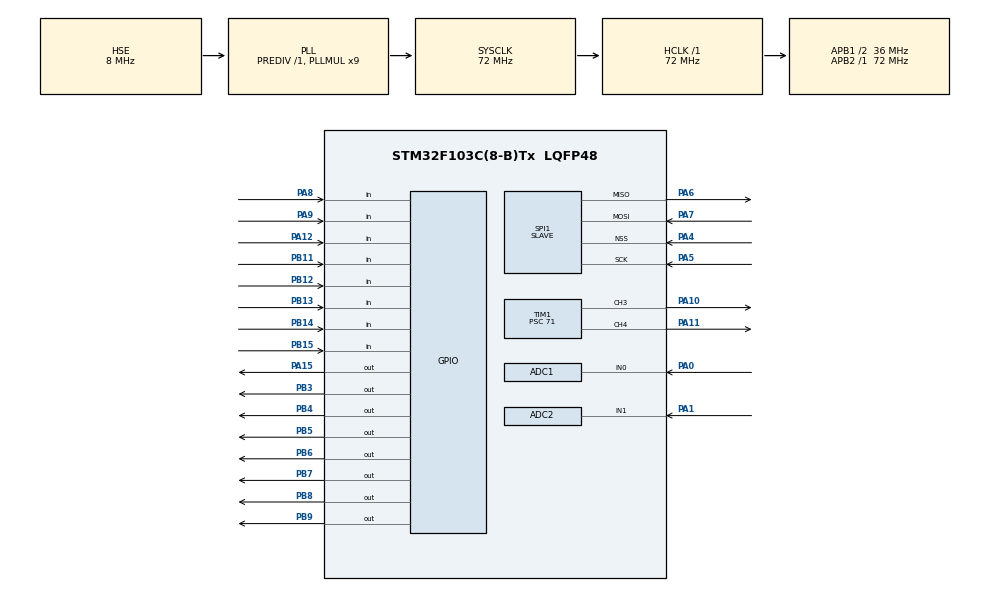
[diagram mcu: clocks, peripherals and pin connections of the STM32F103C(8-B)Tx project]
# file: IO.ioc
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ADC1.Channel-0\#ChannelRegularConversion=ADC_CHANNEL_0
ADC1.ContinuousConvMode=ENABLE
ADC1.NbrOfConversionFlag=1
ADC1.Rank-0\#ChannelRegularConversion=1
ADC1.SamplingTime-0\#ChannelRegularConversion=ADC_SAMPLETIME_1CYCLE_5
ADC1.master=1
ADC2.Channel-0\#ChannelRegularConversion=ADC_CHANNEL_1
ADC2.ContinuousConvMode=ENABLE
ADC2.NbrOfConversionFlag=1
ADC2.Rank-0\#ChannelRegularConversion=1
ADC2.SamplingTime-0\#ChannelRegularConversion=ADC_SAMPLETIME_1CYCLE_5
Mcu.Family=STM32F1
Mcu.Name=STM32F103C(8-B)Tx
Mcu.Package=LQFP48
NVIC.PriorityGroup=NVIC_PRIORITYGROUP_4
NVIC.SPI1_IRQn=true\:0\:0\:false\:false\:true\:true\:true\:true
PA0-WKUP.Signal=ADCx_IN0
PA1.Signal=ADCx_IN1
PA10.Signal=S_TIM1_CH3
PA11.Signal=S_TIM1_CH4
PA12.GPIO_PuPd=GPIO_PULLDOWN
PA12.Signal=GPIO_Input
PA13.Mode=Serial_Wire
PA13.Signal=SYS_JTMS-SWDIO
PA14.Mode=Serial_Wire
PA14.Signal=SYS_JTCK-SWCLK
PA15.Signal=GPIO_Output
PA4.Mode=NSS_Signal_Hard_Input
PA4.Signal=SPI1_NSS
PA5.Mode=Full_Duplex_Slave
PA5.Signal=SPI1_SCK
PA6.Mode=Full_Duplex_Slave
PA6.Signal=SPI1_MISO
PA7.Mode=Full_Duplex_Slave
PA7.Signal=SPI1_MOSI
PA8.GPIO_PuPd=GPIO_PULLDOWN
PA8.Signal=GPIO_Input
PA9.GPIO_PuPd=GPIO_PULLDOWN
PA9.Signal=GPIO_Input
PB11.GPIO_PuPd=GPIO_PULLDOWN
PB11.Signal=GPIO_Input
PB12.GPIO_PuPd=GPIO_PULLDOWN
PB12.Signal=GPIO_Input
PB13.GPIO_PuPd=GPIO_PULLDOWN
PB13.Signal=GPIO_Input
PB14.GPIO_PuPd=GPIO_PULLDOWN
PB14.Signal=GPIO_Input
PB15.GPIO_PuPd=GPIO_PULLDOWN
PB15.Signal=GPIO_Input
PB3.Signal=GPIO_Output
PB4.Signal=GPIO_Output
PB5.Signal=GPIO_Output
PB6.Signal=GPIO_Output
PB7.Signal=GPIO_Output
PB8.Signal=GPIO_Output
PB9.Signal=GPIO_Output
PD0-OSC_IN.Mode=HSE-External-Oscillator
PD0-OSC_IN.Signal=RCC_OSC_IN
PD1-OSC_OUT.Mode=HSE-External-Oscillator
PD1-OSC_OUT.Signal=RCC_OSC_OUT
ProjectManager.HeapSize=0x200
ProjectManager.StackSize=0x400
ProjectManager.TargetToolchain=EWARM V8.32
RCC.ADCPresc=RCC_ADCPCLK2_DIV6
RCC.AHBFreq_Value=72000000
RCC.APB1CLKDivider=RCC_HCLK_DIV2
RCC.APB1Freq_Value=36000000
RCC.APB1TimFreq_Value=72000000
RCC.APB2Freq_Value=72000000
RCC.APB2TimFreq_Value=72000000
RCC.HCLKFreq_Value=72000000
RCC.PLLMUL=RCC_PLL_MUL9
RCC.PLLSourceVirtual=RCC_PLLSOURCE_HSE
RCC.SYSCLKFreq_VALUE=72000000
RCC.SYSCLKSource=RCC_SYSCLKSOURCE_PLLCLK
RCC.USBFreq_Value=72000000
SH.ADCx_IN0.0=ADC1_IN0,IN0
SH.ADCx_IN1.0=ADC2_IN1,IN1
SH.S_TIM1_CH3.0=TIM1_CH3,PWM Generation3 CH3
SH.S_TIM1_CH4.0=TIM1_CH4,PWM Generation4 CH4
SPI1.Direction=SPI_DIRECTION_2LINES
SPI1.Mode=SPI_MODE_SLAVE
SPI1.VirtualNSS=VM_NSSHARD
SPI1.VirtualType=VM_SLAVE
TIM1.Channel-PWM\ Generation3\ CH3=TIM_CHANNEL_3
TIM1.Channel-PWM\ Generation4\ CH4=TIM_CHANNEL_4
TIM1.Period=254
TIM1.Prescaler=71
board=custom

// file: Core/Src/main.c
/* USER CODE BEGIN Header */
/**
  ******************************************************************************
  * @file           : main.c
  * @brief          : Main program body
  ******************************************************************************
  * @attention
  *
  * Copyright (c) 2026 STMicroelectronics.
  * All rights reserved.
  *
  * This software is licensed under terms that can be found in the LICENSE file
  * in the root directory of this software component.
  * If no LICENSE file comes with this software, it is provided AS-IS.
  *
  ******************************************************************************
  */
/* USER CODE END Header */
#include "main.h"

ADC_HandleTypeDef hadc1;
ADC_HandleTypeDef hadc2;

SPI_HandleTypeDef hspi1;

TIM_HandleTypeDef htim1;

/* USER CODE BEGIN PV */
IWDG_HandleTypeDef hiwdg;

/* USER CODE END PV */

void SystemClock_Config(void);
static void MX_GPIO_Init(void);
static void MX_ADC1_Init(void);
static void MX_ADC2_Init(void);
static void MX_SPI1_Init(void);
static void MX_TIM1_Init(void);
/* USER CODE BEGIN PFP */
uint8_t duty_pwm = 0;
uint8_t porcentaje_duty = 0;
volatile uint8_t RxBuffer[4];
uint8_t RxMod = 0x00;
volatile bool spiRxReady = false;

uint16_t salidasD[8] ={
  SAL_DIG_1,
  SAL_DIG_2,
  SAL_DIG_3,
  SAL_DIG_4,
  SAL_DIG_5,
  SAL_DIG_6,
  SAL_DIG_7,
  SAL_DIG_8
};
uint16_t entradasD[8] ={
  ENT_DIG_1,
  ENT_DIG_2,
  ENT_DIG_3,
  ENT_DIG_4,
  ENT_DIG_5,
  ENT_DIG_6,
  ENT_DIG_7,
  ENT_DIG_8
};
estAct_t estAct;

/* USER CODE END PFP */

/* USER CODE BEGIN 0 */

/* Protocolo con el CPU: ver induproto.h y docs/PROTOCOLO.md */

/* Si no llega una escritura valida del CPU en este tiempo, todas las salidas
 * pasan a estado seguro (apagadas). Tiene que ser mayor que el periodo de
 * ciclo del CPU (20 ms por defecto) mas el tiempo de una redeteccion. */
#define SALIDAS_TIMEOUT_MS 500

/* Las salidas AO pasan por un optoacoplador que invierte la logica:
 * pin en alto -> LED del opto encendido -> gate a GND -> salida APAGADA.
 * Con 1, el PWM se configura con polaridad invertida para que 0 = apagada
 * y 255 = 100 %. Poner 0 si se corrige la logica en el hardware. */
#define AO_LOGICA_INVERTIDA 1

/* Contadores para diagnostico (se pueden ver con el depurador). */
volatile uint32_t tramasCrcError = 0;
volatile uint32_t timeoutsComunicacion = 0;
static uint32_t ultimaEscrituraOk = 0;
static bool salidasEnSeguro = true;

/* Watchdog: si el firmware se cuelga mas de ~250 ms, el micro se reinicia
 * (y al reiniciarse arranca con las salidas en estado seguro).
 * LSI ~40 kHz / 64 = 625 Hz -> 156 cuentas = 250 ms (166..375 ms segun el LSI). */
static void iwdg_init(void)
{
  __HAL_DBGMCU_FREEZE_IWDG();   /* el watchdog se detiene con el depurador en pausa */
  hiwdg.Instance = IWDG;
  hiwdg.Init.Prescaler = IWDG_PRESCALER_64;
  hiwdg.Init.Reload = 156;
  if (HAL_IWDG_Init(&hiwdg) != HAL_OK)
  {
    Error_Handler();
  }
}

/* Antes de que arranque el PWM, PA10/PA11 quedan como salidas en el nivel
 * que APAGA las AO, asi no se encienden durante el arranque. */
static void ao_apagadas_al_arrancar(void)
{
  GPIO_InitTypeDef g = {0};
  __HAL_RCC_GPIOA_CLK_ENABLE();
  HAL_GPIO_WritePin(GPIOA, GPIO_PIN_10 | GPIO_PIN_11,
                    AO_LOGICA_INVERTIDA ? GPIO_PIN_SET : GPIO_PIN_RESET);
  g.Pin = GPIO_PIN_10 | GPIO_PIN_11;
  g.Mode = GPIO_MODE_OUTPUT_PP;
  g.Pull = GPIO_NOPULL;
  g.Speed = GPIO_SPEED_FREQ_LOW;
  HAL_GPIO_Init(GPIOA, &g);
}

/* NSS (chip select) del SPI1: PA4. Se puede leer como GPIO aunque lo use el SPI. */
#define NSS_PORT GPIOA
#define NSS_PIN  GPIO_PIN_4

/* Contadores para verificar la comunicacion (se pueden ver con el depurador). */
volatile uint32_t tramasOk = 0;
volatile uint32_t tramasError = 0;

static bool nss_activo(void)
{
  return HAL_GPIO_ReadPin(NSS_PORT, NSS_PIN) == GPIO_PIN_RESET;
}

/* Espera a que el CPU termine la trama (NSS en alto) y deja el SPI limpio
 * para la siguiente: asi un error nunca se arrastra a la trama que sigue. */
static void spi_fin_de_trama(void)
{
  uint32_t t0 = HAL_GetTick();
  while (nss_activo() && (HAL_GetTick() - t0) < 5) {
  }
  __HAL_SPI_DISABLE(&hspi1);
  (void)hspi1.Instance->DR;   // descarta un byte recibido a medias
  (void)hspi1.Instance->SR;   // junto con la lectura de DR, limpia el overrun (OVR)
  __HAL_SPI_ENABLE(&hspi1);
}

static void aplicar_salidas(void)
{
  for (int i = 0; i < 7; i++)
  {
    HAL_GPIO_WritePin(GPIOB, salidasD[i], estAct.modOd[i]);
  }
  HAL_GPIO_WritePin(GPIOA, SAL_DIG_8, estAct.modOd[7]);

  /* Period = 254: un compare de 255 da 100 % de ciclo util */
  __HAL_TIM_SetCompare(&htim1, TIM_CHANNEL_3, estAct.modOa[AN_1]);   /* PA10 = AO0 */
  __HAL_TIM_SetCompare(&htim1, TIM_CHANNEL_4, estAct.modOa[AN_2]);   /* PA11 = AO1 */
}

/* Todas las salidas apagadas */
static void salidas_estado_seguro(void)
{
  for (int i = 0; i < 8; i++)
  {
    estAct.modOd[i] = false;
  }
  estAct.modOa[AN_1] = 0;
  estAct.modOa[AN_2] = 0;
  aplicar_salidas();
  salidasEnSeguro = true;
}

static void revisar_timeout(void)
{
  if (!salidasEnSeguro && (HAL_GetTick() - ultimaEscrituraOk) > SALIDAS_TIMEOUT_MS)
  {
    salidas_estado_seguro();
    timeoutsComunicacion++;
  }
}

/* USER CODE END 0 */

int main(void)
{

  /* MCU Configuration--------------------------------------------------------*/

  /* Reset of all peripherals, Initializes the Flash interface and the Systick. */
  HAL_Init();

  /* Configure the system clock */
  SystemClock_Config();

  /* Initialize all configured peripherals */
  ao_apagadas_al_arrancar();
  MX_GPIO_Init();
  MX_ADC1_Init();
  MX_ADC2_Init();
  MX_SPI1_Init();
  MX_TIM1_Init();
  /* USER CODE BEGIN 2 */
  HAL_ADC_Start(&hadc1);
  HAL_ADC_Start(&hadc2);
  HAL_TIM_PWM_Start(&htim1, TIM_CHANNEL_3);
  HAL_TIM_PWM_Start(&htim1, TIM_CHANNEL_4);
  salidas_estado_seguro();
  iwdg_init();

  /* La deteccion del modulo ya no se hace solo al arrancar: el loop responde
   * al comando 0x48 en cualquier momento. Asi, si el CPU o este modulo se
   * reinician por separado, se pueden volver a detectar. */

  /* USER CODE END 2 */
  /* Infinite loop */
  /* USER CODE BEGIN WHILE */
  while (1)
  {
    /* 1. Esperar a que el CPU seleccione este modulo (NSS en bajo).
     *    Mientras tanto se vigila que el CPU siga escribiendo. */
    while (!nss_activo()) {
      HAL_IWDG_Refresh(&hiwdg);
      revisar_timeout();
    }

    /* 2. Recibir el comando */
    uint8_t cmd = 0;
    if (HAL_SPI_Receive(&hspi1, &cmd, 1, 2) != HAL_OK)
    {
      cmd = 0;   // no llego el comando: se cuenta como error mas abajo
    }

    if (cmd == PROTO_CMD_DETECCION)
    {
      uint8_t resp[PROTO_LARGO_DETECCION];
      proto_armar_deteccion(PROTO_ID_SALIDAS, resp);
      if (HAL_SPI_Transmit(&hspi1, resp, PROTO_LARGO_DETECCION, 2) == HAL_OK) {
        tramasOk++;
      } else {
        tramasError++;
      }
    }
    else if (cmd == PROTO_CMD_ESCRIBIR)
    {
      /* Los datos llegan despues de la pausa del CPU */
      uint8_t buf[PROTO_LARGO_SALIDAS];
      proto_datos_t d;
      if (HAL_SPI_Receive(&hspi1, buf, PROTO_LARGO_SALIDAS, 2) != HAL_OK)
      {
        tramasError++;   // trama incompleta: no se tocan las salidas ni se responde
      }
      else
      {
        uint8_t ack = PROTO_NAK;
        if (proto_leer_datos(PROTO_CMD_ESCRIBIR, buf, &d))
        {
          for (int i = 0; i < 8; i++)
          {
            estAct.modOd[i] = (d.dig >> i) & 0x01;
          }
          estAct.modOa[AN_1] = d.ana[0];
          estAct.modOa[AN_2] = d.ana[1];
          aplicar_salidas();
          salidasEnSeguro = false;
          ultimaEscrituraOk = HAL_GetTick();
          ack = PROTO_ACK;
          tramasOk++;
        }
        else
        {
          tramasCrcError++;   // CRC incorrecto: las salidas no cambian
        }
        /* El CPU espera PROTO_PAUSA_US y lee la confirmacion */
        HAL_SPI_Transmit(&hspi1, &ack, 1, 2);
      }
    }
    else
    {
      tramasError++;   // timeout o comando desconocido
    }

    /* 3. Esperar el fin de la trama y dejar el SPI limpio */
    spi_fin_de_trama();
    HAL_IWDG_Refresh(&hiwdg);
    revisar_timeout();
    /* USER CODE END WHILE */

  }
}

void SystemClock_Config(void)
{
  RCC_OscInitTypeDef RCC_OscInitStruct = {0};
  RCC_ClkInitTypeDef RCC_ClkInitStruct = {0};
  RCC_PeriphCLKInitTypeDef PeriphClkInit = {0};

  /** Initializes the RCC Oscillators according to the specified parameters
  * in the RCC_OscInitTypeDef structure.
  */
  RCC_OscInitStruct.OscillatorType = RCC_OSCILLATORTYPE_HSE;
  RCC_OscInitStruct.HSEState = RCC_HSE_ON;
  RCC_OscInitStruct.HSEPredivValue = RCC_HSE_PREDIV_DIV1;
  RCC_OscInitStruct.HSIState = RCC_HSI_ON;
  RCC_OscInitStruct.PLL.PLLState = RCC_PLL_ON;
  RCC_OscInitStruct.PLL.PLLSource = RCC_PLLSOURCE_HSE;
  RCC_OscInitStruct.PLL.PLLMUL = RCC_PLL_MUL9;
  if (HAL_RCC_OscConfig(&RCC_OscInitStruct) != HAL_OK)
  {
    Error_Handler();
  }

  /** Initializes the CPU, AHB and APB buses clocks
  */
  RCC_ClkInitStruct.ClockType = RCC_CLOCKTYPE_HCLK|RCC_CLOCKTYPE_SYSCLK
                              |RCC_CLOCKTYPE_PCLK1|RCC_CLOCKTYPE_PCLK2;
  RCC_ClkInitStruct.SYSCLKSource = RCC_SYSCLKSOURCE_PLLCLK;
  RCC_ClkInitStruct.AHBCLKDivider = RCC_SYSCLK_DIV1;
  RCC_ClkInitStruct.APB1CLKDivider = RCC_HCLK_DIV2;
  RCC_ClkInitStruct.APB2CLKDivider = RCC_HCLK_DIV1;

  if (HAL_RCC_ClockConfig(&RCC_ClkInitStruct, FLASH_LATENCY_2) != HAL_OK)
  {
    Error_Handler();
  }
  PeriphClkInit.PeriphClockSelection = RCC_PERIPHCLK_ADC;
  PeriphClkInit.AdcClockSelection = RCC_ADCPCLK2_DIV6;
  if (HAL_RCCEx_PeriphCLKConfig(&PeriphClkInit) != HAL_OK)
  {
    Error_Handler();
  }
}

static void MX_ADC1_Init(void)
{

  ADC_ChannelConfTypeDef sConfig = {0};

  /** Common config
  */
  hadc1.Instance = ADC1;
  hadc1.Init.ScanConvMode = ADC_SCAN_DISABLE;
  hadc1.Init.ContinuousConvMode = ENABLE;
  hadc1.Init.DiscontinuousConvMode = DISABLE;
  hadc1.Init.ExternalTrigConv = ADC_SOFTWARE_START;
  hadc1.Init.DataAlign = ADC_DATAALIGN_RIGHT;
  hadc1.Init.NbrOfConversion = 1;
  if (HAL_ADC_Init(&hadc1) != HAL_OK)
  {
    Error_Handler();
  }

  /** Configure Regular Channel
  */
  sConfig.Channel = ADC_CHANNEL_0;
  sConfig.Rank = ADC_REGULAR_RANK_1;
  sConfig.SamplingTime = ADC_SAMPLETIME_1CYCLE_5;
  if (HAL_ADC_ConfigChannel(&hadc1, &sConfig) != HAL_OK)
  {
    Error_Handler();
  }

}

static void MX_ADC2_Init(void)
{

  ADC_ChannelConfTypeDef sConfig = {0};

  /** Common config
  */
  hadc2.Instance = ADC2;
  hadc2.Init.ScanConvMode = ADC_SCAN_DISABLE;
  hadc2.Init.ContinuousConvMode = ENABLE;
  hadc2.Init.DiscontinuousConvMode = DISABLE;
  hadc2.Init.ExternalTrigConv = ADC_SOFTWARE_START;
  hadc2.Init.DataAlign = ADC_DATAALIGN_RIGHT;
  hadc2.Init.NbrOfConversion = 1;
  if (HAL_ADC_Init(&hadc2) != HAL_OK)
  {
    Error_Handler();
  }

  /** Configure Regular Channel
  */
  sConfig.Channel = ADC_CHANNEL_1;
  sConfig.Rank = ADC_REGULAR_RANK_1;
  sConfig.SamplingTime = ADC_SAMPLETIME_1CYCLE_5;
  if (HAL_ADC_ConfigChannel(&hadc2, &sConfig) != HAL_OK)
  {
    Error_Handler();
  }

}

static void MX_SPI1_Init(void)
{

  /* SPI1 parameter configuration*/
  hspi1.Instance = SPI1;
  hspi1.Init.Mode = SPI_MODE_SLAVE;
  hspi1.Init.Direction = SPI_DIRECTION_2LINES;
  hspi1.Init.DataSize = SPI_DATASIZE_8BIT;
  hspi1.Init.CLKPolarity = SPI_POLARITY_LOW;
  hspi1.Init.CLKPhase = SPI_PHASE_1EDGE;
  hspi1.Init.NSS = SPI_NSS_HARD_INPUT;
  hspi1.Init.FirstBit = SPI_FIRSTBIT_MSB;
  hspi1.Init.TIMode = SPI_TIMODE_DISABLE;
  hspi1.Init.CRCCalculation = SPI_CRCCALCULATION_DISABLE;
  hspi1.Init.CRCPolynomial = 10;
  if (HAL_SPI_Init(&hspi1) != HAL_OK)
  {
    Error_Handler();
  }

}

static void MX_TIM1_Init(void)
{

  TIM_MasterConfigTypeDef sMasterConfig = {0};
  TIM_OC_InitTypeDef sConfigOC = {0};
  TIM_BreakDeadTimeConfigTypeDef sBreakDeadTimeConfig = {0};

  htim1.Instance = TIM1;
  /* 72 MHz / (71+1) / (254+1) = 3,92 kHz, resolucion de 8 bits.
   * Con Period = 254, un compare de 255 es el 100 % (salida siempre activa). */
  htim1.Init.Prescaler = 71;
  htim1.Init.CounterMode = TIM_COUNTERMODE_UP;
  htim1.Init.Period = 254;
  htim1.Init.ClockDivision = TIM_CLOCKDIVISION_DIV1;
  htim1.Init.RepetitionCounter = 0;
  htim1.Init.AutoReloadPreload = TIM_AUTORELOAD_PRELOAD_DISABLE;
  if (HAL_TIM_PWM_Init(&htim1) != HAL_OK)
  {
    Error_Handler();
  }
  sMasterConfig.MasterOutputTrigger = TIM_TRGO_RESET;
  sMasterConfig.MasterSlaveMode = TIM_MASTERSLAVEMODE_DISABLE;
  if (HAL_TIMEx_MasterConfigSynchronization(&htim1, &sMasterConfig) != HAL_OK)
  {
    Error_Handler();
  }
  sConfigOC.OCMode = TIM_OCMODE_PWM1;
  sConfigOC.Pulse = 0;
  sConfigOC.OCPolarity = AO_LOGICA_INVERTIDA ? TIM_OCPOLARITY_LOW : TIM_OCPOLARITY_HIGH;
  sConfigOC.OCNPolarity = TIM_OCNPOLARITY_HIGH;
  sConfigOC.OCFastMode = TIM_OCFAST_DISABLE;
  sConfigOC.OCIdleState = TIM_OCIDLESTATE_RESET;
  sConfigOC.OCNIdleState = TIM_OCNIDLESTATE_RESET;
  if (HAL_TIM_PWM_ConfigChannel(&htim1, &sConfigOC, TIM_CHANNEL_3) != HAL_OK)
  {
    Error_Handler();
  }
  if (HAL_TIM_PWM_ConfigChannel(&htim1, &sConfigOC, TIM_CHANNEL_4) != HAL_OK)
  {
    Error_Handler();
  }
  sBreakDeadTimeConfig.OffStateRunMode = TIM_OSSR_DISABLE;
  sBreakDeadTimeConfig.OffStateIDLEMode = TIM_OSSI_DISABLE;
  sBreakDeadTimeConfig.LockLevel = TIM_LOCKLEVEL_OFF;
  sBreakDeadTimeConfig.DeadTime = 0;
  sBreakDeadTimeConfig.BreakState = TIM_BREAK_DISABLE;
  sBreakDeadTimeConfig.BreakPolarity = TIM_BREAKPOLARITY_HIGH;
  sBreakDeadTimeConfig.AutomaticOutput = TIM_AUTOMATICOUTPUT_DISABLE;
  if (HAL_TIMEx_ConfigBreakDeadTime(&htim1, &sBreakDeadTimeConfig) != HAL_OK)
  {
    Error_Handler();
  }
  HAL_TIM_MspPostInit(&htim1);

}

static void MX_GPIO_Init(void)
{
  GPIO_InitTypeDef GPIO_InitStruct = {0};

  /* GPIO Ports Clock Enable */
  __HAL_RCC_GPIOD_CLK_ENABLE();
  __HAL_RCC_GPIOA_CLK_ENABLE();
  __HAL_RCC_GPIOB_CLK_ENABLE();

  /*Configure GPIO pin Output Level */
  HAL_GPIO_WritePin(GPIOA, GPIO_PIN_15, GPIO_PIN_RESET);

  /*Configure GPIO pin Output Level */
  HAL_GPIO_WritePin(GPIOB, GPIO_PIN_3|GPIO_PIN_4|GPIO_PIN_5|GPIO_PIN_6
                          |GPIO_PIN_7|GPIO_PIN_8|GPIO_PIN_9, GPIO_PIN_RESET);

  /*Configure GPIO pins : PB11 PB12 PB13 PB14
                           PB15 */
  GPIO_InitStruct.Pin = GPIO_PIN_11|GPIO_PIN_12|GPIO_PIN_13|GPIO_PIN_14
                          |GPIO_PIN_15;
  GPIO_InitStruct.Mode = GPIO_MODE_INPUT;
  GPIO_InitStruct.Pull = GPIO_PULLDOWN;
  HAL_GPIO_Init(GPIOB, &GPIO_InitStruct);

  /*Configure GPIO pins : PA8 PA9 PA12 */
  GPIO_InitStruct.Pin = GPIO_PIN_8|GPIO_PIN_9|GPIO_PIN_12;
  GPIO_InitStruct.Mode = GPIO_MODE_INPUT;
  GPIO_InitStruct.Pull = GPIO_PULLDOWN;
  HAL_GPIO_Init(GPIOA, &GPIO_InitStruct);

  /*Configure GPIO pin : PA15 */
  GPIO_InitStruct.Pin = GPIO_PIN_15;
  GPIO_InitStruct.Mode = GPIO_MODE_OUTPUT_PP;
  GPIO_InitStruct.Pull = GPIO_NOPULL;
  GPIO_InitStruct.Speed = GPIO_SPEED_FREQ_LOW;
  HAL_GPIO_Init(GPIOA, &GPIO_InitStruct);

  /*Configure GPIO pins : PB3 PB4 PB5 PB6
                           PB7 PB8 PB9 */
  GPIO_InitStruct.Pin = GPIO_PIN_3|GPIO_PIN_4|GPIO_PIN_5|GPIO_PIN_6
                          |GPIO_PIN_7|GPIO_PIN_8|GPIO_PIN_9;
  GPIO_InitStruct.Mode = GPIO_MODE_OUTPUT_PP;
  GPIO_InitStruct.Pull = GPIO_NOPULL;
  GPIO_InitStruct.Speed = GPIO_SPEED_FREQ_LOW;
  HAL_GPIO_Init(GPIOB, &GPIO_InitStruct);

}

/* USER CODE BEGIN 4 *
/* USER CODE END 4 */

void Error_Handler(void)
{
  __disable_irq();
  while (1)
  {
  }
}
